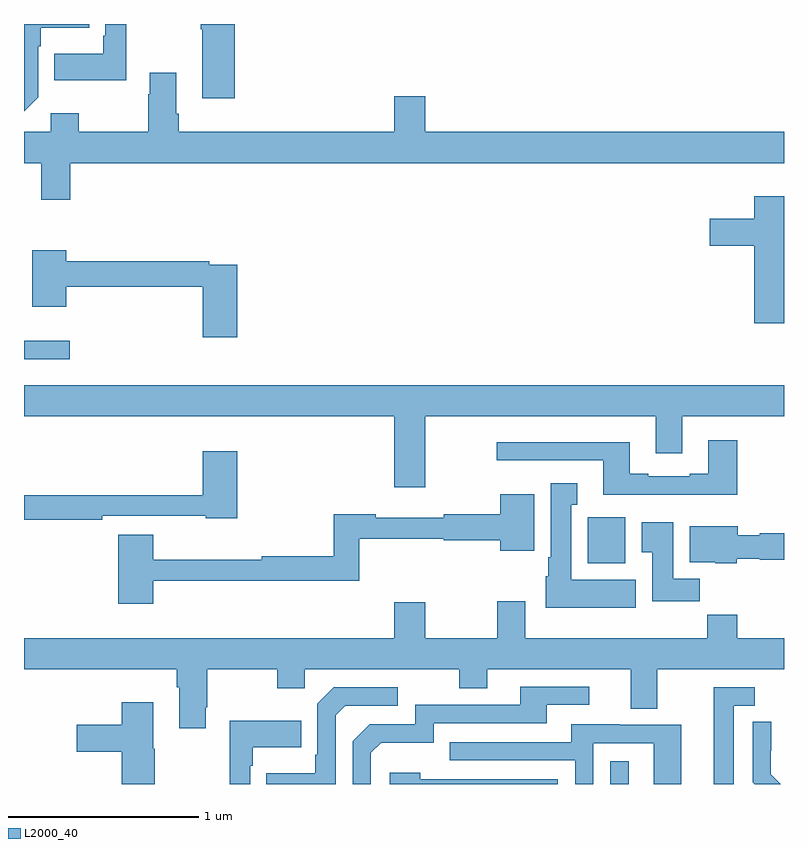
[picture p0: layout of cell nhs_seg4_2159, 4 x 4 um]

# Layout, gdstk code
import gdstk
lib = gdstk.Library(unit=1e-6, precision=1e-09)
def R(c, l, rs):  # rectangles x0, y0, x1, y1
    for r in rs: c.add(gdstk.rectangle(r[:2], r[2:], *l))
def P(c, l, *ps):  # polygons
    for p in ps: c.add(gdstk.Polygon(p, *l))
L2000_40 = (2000, 40)

nhs_seg4_2159 = lib.new_cell('nhs_seg4_2159')
R(nhs_seg4_2159, L2000_40, [(226.086,778.9,226.183,779.02), (225.968,780.062,226.165,780.304), (223,781.136,223.24,781.233)])
P(nhs_seg4_2159, L2000_40, [(223.537,782.9),(223.428,782.9),(223.428,782.839),(223.416,782.839),(223.416,782.743),(223.159,782.743),(223.159,782.603),(223.537,782.603)],
  [(223.074,782.514),(223.074,782.783),(223.087,782.783),(223.087,782.879),(223.343,782.879),(223.343,782.9),(223,782.9),(223,782.44)],
  [(224.11,782.9),(223.93,782.9),(223.93,782.873),(223.937,782.873),(223.937,782.508),(224.11,782.508)],
  [(223.244,782.168),(227,782.168),(227,782.332),(225.112,782.332),(225.112,782.521),(224.948,782.521),(224.948,782.332),(223.814,782.332),(223.814,782.428),(223.801,782.428),(223.801,782.644),(223.661,782.644),(223.661,782.531),(223.654,782.531),(223.654,782.332),(223.287,782.332),(223.287,782.431),(223.14,782.431),(223.14,782.332),(223,782.332),(223,782.168),(223.091,782.168),(223.091,781.974),(223.244,781.974)],
  [(227,781.993),(226.844,781.993),(226.844,781.875),(226.608,781.875),(226.608,781.733),(226.844,781.733),(226.844,781.326),(227,781.326)],
  [(224.123,781.632),(223.976,781.632),(223.976,781.652),(223.222,781.652),(223.222,781.708),(223.043,781.708),(223.043,781.412),(223.222,781.412),(223.222,781.516),(223.94,781.516),(223.94,781.251),(224.123,781.251)],
  [(225.112,780.836),(226.325,780.836),(226.325,780.642),(226.465,780.642),(226.465,780.836),(227,780.836),(227,781),(223,781),(223,780.836),(224.948,780.836),(224.948,780.462),(225.112,780.462)],
  [(226.754,780.709),(226.601,780.709),(226.601,780.532),(226.505,780.532),(226.505,780.519),(226.285,780.519),(226.285,780.532),(226.189,780.532),(226.189,780.7),(225.489,780.7),(225.489,780.603),(226.049,780.603),(226.049,780.422),(226.754,780.422)],
  [(223.412,780.312),(223.956,780.312),(223.956,780.299),(224.123,780.299),(224.123,780.652),(223.94,780.652),(223.94,780.421),(223,780.421),(223,780.292),(223.412,780.292)],
  [(226.219,779.974),(225.88,779.974),(225.88,780.371),(225.913,780.371),(225.913,780.484),(225.773,780.484),(225.773,780.094),(225.758,780.094),(225.758,779.994),(225.746,779.994),(225.746,779.828),(226.219,779.828)],
  [(223.679,779.97),(224.765,779.97),(224.765,780.192),(225.21,780.192),(225.21,780.184),(225.506,780.184),(225.506,780.128),(225.685,780.128),(225.685,780.424),(225.506,780.424),(225.506,780.32),(225.208,780.32),(225.208,780.301),(224.852,780.301),(224.852,780.32),(224.629,780.32),(224.629,780.098),(224.252,780.098),(224.252,780.081),(223.679,780.081),(223.679,780.211),(223.496,780.211),(223.496,779.85),(223.679,779.85)],
  [(226.556,779.98),(226.417,779.98),(226.417,780.277),(226.25,780.277),(226.25,780.121),(226.307,780.121),(226.307,779.862),(226.556,779.862)],
  [(226.752,780.086),(226.872,780.086),(226.872,780.079),(227,780.079),(227,780.221),(226.872,780.221),(226.872,780.208),(226.756,780.208),(226.756,780.256),(226.505,780.256),(226.505,780.068),(226.638,780.068),(226.638,780.062),(226.752,780.062)],
  [(227,779.668),(226.754,779.668),(226.754,779.792),(226.597,779.792),(226.597,779.668),(225.637,779.668),(225.637,779.863),(225.49,779.863),(225.49,779.668),(225.112,779.668),(225.112,779.857),(224.948,779.857),(224.948,779.668),(223,779.668),(223,779.504),(223.805,779.504),(223.805,779.408),(223.817,779.408),(223.817,779.193),(223.957,779.193),(223.957,779.305),(223.965,779.305),(223.965,779.504),(224.332,779.504),(224.332,779.405),(224.478,779.405),(224.478,779.504),(225.292,779.504),(225.292,779.405),(225.439,779.405),(225.439,779.504),(226.193,779.504),(226.193,779.296),(226.333,779.296),(226.333,779.504),(227,779.504)],
  [(224.826,779.064),(224.879,779.117),(225.156,779.117),(225.156,779.22),(225.751,779.22),(225.751,779.316),(225.976,779.316),(225.976,779.412),(225.611,779.412),(225.611,779.316),(225.06,779.316),(225.06,779.214),(224.82,779.214),(224.73,779.124),(224.73,778.9),(224.826,778.9)],
  [(224.64,779.262),(224.691,779.313),(224.968,779.313),(224.968,779.409),(224.631,779.409),(224.544,779.322),(224.544,779.053),(224.532,779.053),(224.532,778.957),(224.275,778.957),(224.275,778.9),(224.64,778.9)],
  [(226.735,779.313),(226.846,779.313),(226.846,779.409),(226.631,779.409),(226.631,778.9),(226.735,778.9)],
  [(223.689,779.085),(223.681,779.085),(223.681,779.329),(223.514,779.329),(223.514,779.211),(223.278,779.211),(223.278,779.069),(223.514,779.069),(223.514,778.9),(223.689,778.9)],
  [(224.19,778.997),(224.203,778.997),(224.203,779.093),(224.459,779.093),(224.459,779.233),(224.082,779.233),(224.082,778.9),(224.19,778.9)],
  [(226.931,778.952),(226.931,779.074),(226.932,779.074),(226.932,779.228),(226.836,779.228),(226.836,778.91),(226.846,778.9),(226.982,778.9)],
  [(225.996,779.115),(226.314,779.115),(226.314,778.9),(226.459,778.9),(226.459,779.211),(226.135,779.211),(226.135,779.215),(225.881,779.215),(225.881,779.121),(225.241,779.121),(225.241,779.025),(225.9,779.025),(225.9,778.9),(225.996,778.9)],
  [(225.81,778.926),(225.086,778.926),(225.086,778.96),(224.925,778.96),(224.925,778.9),(225.81,778.9)])

lib.write_gds('nhs_seg4_2159.gds')
